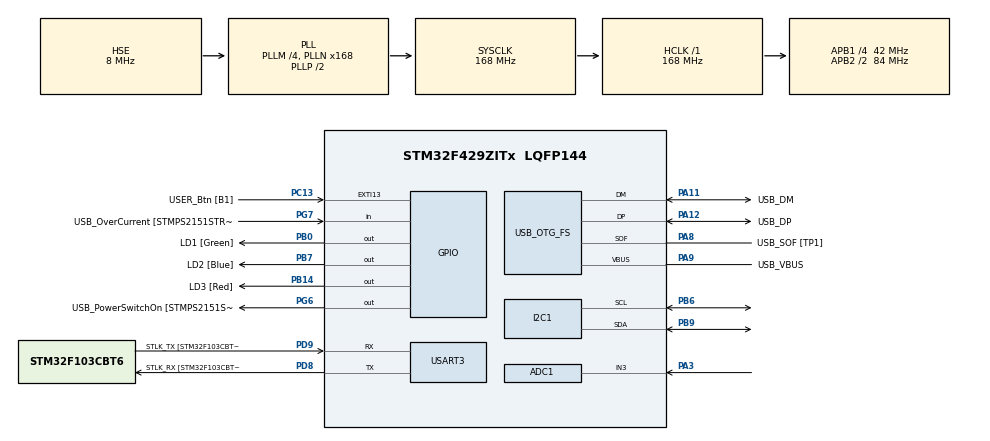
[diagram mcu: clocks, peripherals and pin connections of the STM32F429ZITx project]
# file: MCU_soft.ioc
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ADC1.Channel-0\#ChannelRegularConversion=ADC_CHANNEL_3
ADC1.ExternalTrigConv=ADC_EXTERNALTRIGCONV_T3_TRGO
ADC1.InjNumberOfConversion=0
ADC1.NbrOfConversionFlag=1
ADC1.Rank-0\#ChannelRegularConversion=1
ADC1.Resolution=ADC_RESOLUTION_12B
ADC1.SamplingTime-0\#ChannelRegularConversion=ADC_SAMPLETIME_3CYCLES
ADC1.master=1
Mcu.Family=STM32F4
Mcu.Name=STM32F429ZITx
Mcu.Package=LQFP144
NVIC.ADC_IRQn=true\:0\:0\:false\:false\:true\:true\:true\:true
NVIC.EXTI15_10_IRQn=true\:0\:0\:false\:false\:true\:true\:true\:true
NVIC.PriorityGroup=NVIC_PRIORITYGROUP_2
NVIC.TIM3_IRQn=true\:0\:0\:false\:false\:true\:true\:true\:true
NVIC.USART3_IRQn=true\:0\:0\:false\:false\:true\:true\:true\:true
PA1.GPIO_Label=RMII_REF_CLK [LAN8742A-CZ-TR_REFCLK0]
PA1.Signal=ETH_REF_CLK
PA10.GPIO_Label=USB_ID
PA10.Signal=USB_OTG_FS_ID
PA11.GPIO_Label=USB_DM
PA11.Mode=Device_Only
PA11.Signal=USB_OTG_FS_DM
PA12.GPIO_Label=USB_DP
PA12.Mode=Device_Only
PA12.Signal=USB_OTG_FS_DP
PA13.GPIO_Label=TMS
PA13.Mode=Serial_Wire
PA13.Signal=SYS_JTMS-SWDIO
PA14.GPIO_Label=TCK
PA14.Mode=Serial_Wire
PA14.Signal=SYS_JTCK-SWCLK
PA2.GPIO_Label=RMII_MDIO [LAN8742A-CZ-TR_MDIO]
PA2.Signal=ETH_MDIO
PA3.Signal=ADCx_IN3
PA7.GPIO_Label=RMII_CRS_DV [LAN8742A-CZ-TR_CRS_DV]
PA7.Signal=ETH_CRS_DV
PA8.GPIO_Label=USB_SOF [TP1]
PA8.Mode=Activate_SOF_FS
PA8.Signal=USB_OTG_FS_SOF
PA9.GPIO_Label=USB_VBUS
PA9.Mode=Activate_VBUS
PA9.Signal=USB_OTG_FS_VBUS
PB0.GPIO_Label=LD1 [Green]
PB0.Signal=GPIO_Output
PB13.GPIO_Label=RMII_TXD1 [LAN8742A-CZ-TR_TXD1]
PB13.Signal=ETH_TXD1
PB14.GPIO_Label=LD3 [Red]
PB14.Signal=GPIO_Output
PB6.Mode=I2C
PB6.Signal=I2C1_SCL
PB7.GPIO_Label=LD2 [Blue]
PB7.Signal=GPIO_Output
PB9.Mode=I2C
PB9.Signal=I2C1_SDA
PC1.GPIO_Label=RMII_MDC [LAN8742A-CZ-TR_MDC]
PC1.Signal=ETH_MDC
PC13.GPIO_Label=USER_Btn [B1]
PC13.Signal=GPXTI13
PC14/OSC32_IN.Mode=LSE-External-Oscillator
PC14/OSC32_IN.Signal=RCC_OSC32_IN
PC15/OSC32_OUT.Mode=LSE-External-Oscillator
PC15/OSC32_OUT.Signal=RCC_OSC32_OUT
PC4.GPIO_Label=RMII_RXD0 [LAN8742A-CZ-TR_RXD0]
PC4.Signal=ETH_RXD0
PC5.GPIO_Label=RMII_RXD1 [LAN8742A-CZ-TR_RXD1]
PC5.Signal=ETH_RXD1
PD8.GPIO_Label=STLK_RX [STM32F103CBT6_PA3]
PD8.Mode=Asynchronous
PD8.Signal=USART3_TX
PD9.GPIO_Label=STLK_TX [STM32F103CBT6_PA2]
PD9.Mode=Asynchronous
PD9.Signal=USART3_RX
PG13.GPIO_Label=RMII_TXD0 [LAN8742A-CZ-TR_TXD0]
PG13.Signal=ETH_TXD0
PG6.GPIO_Label=USB_PowerSwitchOn [STMPS2151STR_EN]
PG6.Signal=GPIO_Output
PG7.GPIO_Label=USB_OverCurrent [STMPS2151STR_FAULT]
PG7.Signal=GPIO_Input
PH0/OSC_IN.GPIO_Label=MCO [STM32F103CBT6_PA8]
PH0/OSC_IN.Mode=HSE-External-Clock-Source
PH0/OSC_IN.Signal=RCC_OSC_IN
PH1/OSC_OUT.Mode=HSE-External-Clock-Source
PH1/OSC_OUT.Signal=RCC_OSC_OUT
ProjectManager.HeapSize=0x800
ProjectManager.StackSize=0x1200
ProjectManager.TargetToolchain=STM32CubeIDE
RCC.48MHZClocksFreq_Value=48000000
RCC.AHBFreq_Value=168000000
RCC.APB1CLKDivider=RCC_HCLK_DIV4
RCC.APB1Freq_Value=42000000
RCC.APB1TimFreq_Value=84000000
RCC.APB2CLKDivider=RCC_HCLK_DIV2
RCC.APB2Freq_Value=84000000
RCC.APB2TimFreq_Value=168000000
RCC.CortexFreq_Value=168000000
RCC.HCLKFreq_Value=168000000
RCC.HSE_VALUE=8000000
RCC.HSI_VALUE=16000000
RCC.PLLM=4
RCC.PLLMUL=RCC_PLL_MUL9
RCC.PLLN=168
RCC.PLLQ=7
RCC.PRESCALERUSB=RCC_USBCLKSOURCE_PLL_DIV1_5
RCC.SYSCLKFreq_VALUE=168000000
RCC.SYSCLKSource=RCC_SYSCLKSOURCE_PLLCLK
RCC.SYSCLKSourceVirtual=RCC_SYSCLKSOURCE_PLLCLK
RCC.USBFreq_Value=48000000
RCC.VCOOutputFreq_Value=336000000
SH.ADCx_IN3.0=ADC1_IN3,IN3
STMicroelectronics.X-CUBE-AI.9.1.0.ActivationBufferSizeList=27098
STMicroelectronics.X-CUBE-AI.9.1.0.ActivationBuffers=pool0
STMicroelectronics.X-CUBE-AI.9.1.0.ActivationNames=pool0
STMicroelectronics.X-CUBE-AI.9.1.0.ActivationSizes=AI_WORD_CLASSIFIER_DATA_ACTIVATION_1_SIZE
STMicroelectronics.X-CUBE-AI.9.1.0.ApplicationCcDeviceJjApplication=ApplicationTemplate
STMicroelectronics.X-CUBE-AI.9.1.0.HeapSize=0x800
STMicroelectronics.X-CUBE-AI.9.1.0.InternalRamActivationBufferMaxSize=AI_WORD_CLASSIFIER_DATA_ACTIVATIONS_SIZE
STMicroelectronics.X-CUBE-AI.9.1.0.LatestDirectoryUsed-c3c3cf3277ce77a704e0bb6de951442ba1f68e452474bf810ef25af8ff0e28c2=/home/vistek528/TRA_PROJ/NET_prototype/to_be_deployed
STMicroelectronics.X-CUBE-AI.9.1.0.MaximumNumberOfInputLayer=1
STMicroelectronics.X-CUBE-AI.9.1.0.MaximumNumberOfOutputLayer=1
STMicroelectronics.X-CUBE-AI.9.1.0.MaximumSizeOfInputLayer=1
STMicroelectronics.X-CUBE-AI.9.1.0.MaximumSizeOfOutputLayer=1
STMicroelectronics.X-CUBE-AI.9.1.0.ModelActualCompression-c3c3cf3277ce77a704e0bb6de951442ba1f68e452474bf810ef25af8ff0e28c2=0.0
STMicroelectronics.X-CUBE-AI.9.1.0.ModelCompression-c3c3cf3277ce77a704e0bb6de951442ba1f68e452474bf810ef25af8ff0e28c2=None
STMicroelectronics.X-CUBE-AI.9.1.0.ModelFlashOccupation-c3c3cf3277ce77a704e0bb6de951442ba1f68e452474bf810ef25af8ff0e28c2=177744
STMicroelectronics.X-CUBE-AI.9.1.0.ModelHashList=c3c3cf3277ce77a704e0bb6de951442ba1f68e452474bf810ef25af8ff0e28c2
STMicroelectronics.X-CUBE-AI.9.1.0.ModelKind-c3c3cf3277ce77a704e0bb6de951442ba1f68e452474bf810ef25af8ff0e28c2=TFLITE
STMicroelectronics.X-CUBE-AI.9.1.0.ModelMacc-c3c3cf3277ce77a704e0bb6de951442ba1f68e452474bf810ef25af8ff0e28c2=7045032
STMicroelectronics.X-CUBE-AI.9.1.0.ModelName-c3c3cf3277ce77a704e0bb6de951442ba1f68e452474bf810ef25af8ff0e28c2=word_classifier
STMicroelectronics.X-CUBE-AI.9.1.0.ModelNameList=word_classifier
STMicroelectronics.X-CUBE-AI.9.1.0.ModelRamOccupation-c3c3cf3277ce77a704e0bb6de951442ba1f68e452474bf810ef25af8ff0e28c2=27098
STMicroelectronics.X-CUBE-AI.9.1.0.ModelStructureFile-c3c3cf3277ce77a704e0bb6de951442ba1f68e452474bf810ef25af8ff0e28c2=/home/vistek528/TRA_PROJ/NET_prototype/to_be_deployed/tra_61percent_deployed.tflite
STMicroelectronics.X-CUBE-AI.9.1.0.ModelType-c3c3cf3277ce77a704e0bb6de951442ba1f68e452474bf810ef25af8ff0e28c2=STM32Cube.AI MCU runtime
STMicroelectronics.X-CUBE-AI.9.1.0.ReadyForCodeGeneration=true
STMicroelectronics.X-CUBE-AI.9.1.0.StackSize=0x1200
STMicroelectronics.X-CUBE-AI.9.1.0.WorkingBufferStartAddrList=0xFFFFFFFF
STMicroelectronics.X-CUBE-AI.9.1.0.XAaCUBEAaAICcArtificialOoIntelligenceJjCore=true
STMicroelectronics.X-CUBE-AI.9.1.0.copyWeightToRam=false
STMicroelectronics.X-CUBE-AI.9.1.0.copyWeightToRam-c3c3cf3277ce77a704e0bb6de951442ba1f68e452474bf810ef25af8ff0e28c2=false
STMicroelectronics.X-CUBE-AI.9.1.0.customLayerConfigEnabled=false
STMicroelectronics.X-CUBE-AI.9.1.0.customLayerConfigEnabled-c3c3cf3277ce77a704e0bb6de951442ba1f68e452474bf810ef25af8ff0e28c2=false
STMicroelectronics.X-CUBE-AI.9.1.0.noOnnxIoTranspose=false
STMicroelectronics.X-CUBE-AI.9.1.0.noOnnxIoTranspose-c3c3cf3277ce77a704e0bb6de951442ba1f68e452474bf810ef25af8ff0e28c2=false
STMicroelectronics.X-CUBE-AI.9.1.0.optimization=time
STMicroelectronics.X-CUBE-AI.9.1.0.outputDirectory=/home/vistek528/.stm32cubemx/word_classifier_output
STMicroelectronics.X-CUBE-AI.9.1.0.useInputAllocation=true
STMicroelectronics.X-CUBE-AI.9.1.0.useInputAllocation-c3c3cf3277ce77a704e0bb6de951442ba1f68e452474bf810ef25af8ff0e28c2=true
STMicroelectronics.X-CUBE-AI.9.1.0.useOutputAllocation=true
STMicroelectronics.X-CUBE-AI.9.1.0.useOutputAllocation-c3c3cf3277ce77a704e0bb6de951442ba1f68e452474bf810ef25af8ff0e28c2=true
STMicroelectronics.X-CUBE-ALGOBUILD.1.4.0.LibraryCcDSPOoLibraryJjDSPOoLibrary=true
TIM3.Channel-PWM\ Generation1\ No\ Output=TIM_CHANNEL_1
TIM3.Period=250-1
TIM3.Prescaler=7-1
TIM3.TIM_MasterOutputTrigger=TIM_TRGO_UPDATE
USART3.VirtualMode=VM_ASYNC
USB_OTG_FS.VirtualMode=Device_Only
VP_STMicroelectronics.X-CUBE-AI_VS_ArtificialOoIntelligenceJjXAaCUBEAaAI_9.1.0.Mode=ArtificialOoIntelligenceJjXAaCUBEAaAI
VP_STMicroelectronics.X-CUBE-AI_VS_DeviceJjApplication_9.1.0.Mode=DeviceJjApplication
VP_STMicroelectronics.X-CUBE-ALGOBUILD_VS_DSPOoLibraryJjLibrary_1.4.0_1.4.0.Mode=DSPOoLibraryJjLibrary
VP_TIM3_VS_ClockSourceINT.Mode=Internal
VP_TIM3_VS_no_output1.Mode=PWM Generation1 No Output
board=NUCLEO-F429ZI

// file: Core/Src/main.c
/* USER CODE BEGIN Header */
/**
  ******************************************************************************
  * @file           : main.c
  * @brief          : Main program body
  ******************************************************************************
  * @attention
  *
  * Copyright (c) 2024 STMicroelectronics.
  * All rights reserved.
  *
  * This software is licensed under terms that can be found in the LICENSE file
  * in the root directory of this software component.
  * If no LICENSE file comes with this software, it is provided AS-IS.
  *
  ******************************************************************************
  */
/* USER CODE END Header */
#include "main.h"
#include "adc.h"
#include "i2c.h"
#include "tim.h"
#include "usart.h"
#include "usb_otg.h"
#include "gpio.h"
#include "app_x-cube-ai.h"

/* USER CODE BEGIN Includes */

#include <stdio.h>
#include <stdbool.h>

#include "fir_filter.h"
#include "decimation_filter.h"
#include "liquid_crystal_i2c.h"
#include "stft_solver.h"
#include "net_utils.h"

#include "word_classifier.h"
#include "word_classifier_data.h"

/* USER CODE END Includes */

/* USER CODE BEGIN PTD */

typedef enum {
  WAITING,
  STARTED_RECORDING,
  STARTED_STFT,
  STARTED_TRANSMITTING_RESIZED,
  STARTED_TRANSMITTING_DATA,
  STARTED_TRANSMITTING_STFT,
  STARTED_NEURAL_NETWORK_PREDICTION,
  COMPLETED
} MIKE_Status;

/* USER CODE END PTD */

/* USER CODE BEGIN PV */

#define CCMRAM_SECTION __attribute__((section(".ccmram")))

#define SAMPLE_RATE 48000

#define OUTPUT_SAMPLE_RATE_8kHz
//#define OUTPUT_SAMPLE_RATE_16kHz

#if defined(OUTPUT_SAMPLE_RATE_8kHz) && !defined(OUTPUT_SAMPLE_RATE_16kHz)
  #define AUDIO_LENGTH 8000
 float audio[AUDIO_LENGTH];

  #define INPUT_FIR_BUFFER_LENGTH 61
  float lp_input_buffer[INPUT_FIR_BUFFER_LENGTH];

  /* FIR Filter (low-pass antialiasing)
  * fs=48kHz
  * f_cutoff=4kHz
  * Suppresion in stopband ~ -40/-60dB
  * Design method: Window-Sinc (Kaiser window) (beta=3)
  * Order: 60
  */
  float lp_input_impulse_response[] = {1.32113e-18, 0.00128676, 0.00262602, 0.00353702, 0.00354325, 0.00234971, -2.62847e-18, -0.00304789, -0.00597185, -0.00777285, -0.00756562, -0.00489789, 4.02847e-18, 0.0061298, 0.0118641, 0.01531, 0.0148296, 0.00959165, -5.27723e-18, -0.0121449, -0.0238367, -0.0314082, -0.0313327, -0.0211072, 6.14009e-18, 0.0305383, 0.0669324, 0.104033, 0.13606, 0.157747, 0.165415, 0.157747, 0.13606, 0.104033, 0.0669324, 0.0305383, 6.14009e-18, -0.0211072, -0.0313327, -0.0314082, -0.0238367, -0.0121449, -5.27723e-18, 0.00959165, 0.0148296, 0.01531, 0.0118641, 0.0061298, 4.02847e-18, -0.00489789, -0.00756562, -0.00777285, -0.00597185, -0.00304789, -2.62847e-18, 0.00234971, 0.00354325, 0.00353702, 0.00262602, 0.00128676, 1.32113e-18};
  const int decimation_factor = 6;

#endif

#if defined(OUTPUT_SAMPLE_RATE_16kHz) && !defined(OUTPUT_SAMPLE_RATE_8kHz)
  #define AUDIO_LENGTH 16000
  float audio[AUDIO_LENGTH];

  #define INPUT_FIR_BUFFER_LENGTH 31
  float lp_input_buffer[INPUT_FIR_BUFFER_LENGTH];

  /* FIR Filter (low-pass antialiasing)
  * fs=48kHz
  * f_cutoff=8kHz
  * Suppresion in stopband ~ -40/-50dB
  * Design method: Window-Sinc (Kaiser window) (beta=3)
  * Order: 30
  */
  float lp_input_impulse_response[] = {2.64379e-18, 0.00525507, 0.00709057, -5.25997e-18, -0.0119506, -0.0151399, 8.06158e-18, 0.0237419, 0.0296762, -1.05605e-17, -0.0477009, -0.0627015, 1.22872e-17, 0.133942, 0.272277, 0.331021, 0.272277, 0.133942, 1.22872e-17, -0.0627015, -0.0477009, -1.05605e-17, 0.0296762, 0.0237419, 8.06158e-18, -0.0151399, -0.0119506, -5.25997e-18, 0.00709057, 0.00525507, 2.64379e-18};
  const int decimation_factor = 3;

#endif

uint32_t counter = 0;

uint32_t adc_val = 0;
char message[32];
MIKE_Status status = WAITING;

FIR_filter lp_input;
DecimationFilter decimation_filter;

#define FFT_SIZE 256
#define HOP_SIZE 128
#define STFT_ARRAY_LENGTH 7869
#define STFT_FILTER_MASK_SIZE 4

const float hann_window[FFT_SIZE] = {
    0.0000000, 0.0001518, 0.0006070, 0.0013654, 0.0024265, 0.0037897, 0.0054542, 0.0074189, 0.0096826, 0.0122440,
    0.0151015, 0.0182534, 0.0216978, 0.0254325, 0.0294554, 0.0337639, 0.0383554, 0.0432273, 0.0483764, 0.0537997,
    0.0594939, 0.0654555, 0.0716810, 0.0781664, 0.0849080, 0.0919015, 0.0991429, 0.1066275, 0.1143510, 0.1223086,
    0.1304955, 0.1389068, 0.1475372, 0.1563817, 0.1654347, 0.1746908, 0.1841445, 0.1937899, 0.2036212, 0.2136324,
    0.2238175, 0.2341703, 0.2446844, 0.2553535, 0.2661712, 0.2771308, 0.2882257, 0.2994492, 0.3107945, 0.3222546,
    0.3338226, 0.3454915, 0.3572542, 0.3691036, 0.3810324, 0.3930335, 0.4050995, 0.4172231, 0.4293969, 0.4416136,
    0.4538658, 0.4661460, 0.4784467, 0.4907605, 0.5030800, 0.5153975, 0.5277057, 0.5399971, 0.5522642, 0.5644996,
    0.5766958, 0.5888455, 0.6009412, 0.6129756, 0.6249415, 0.6368315, 0.6486384, 0.6603551, 0.6719745, 0.6834894,
    0.6948929, 0.7061782, 0.7173382, 0.7283663, 0.7392558, 0.7500000, 0.7605924, 0.7710267, 0.7812964, 0.7913953,
    0.8013173, 0.8110564, 0.8206067, 0.8299623, 0.8391176, 0.8480670, 0.8568051, 0.8653266, 0.8736263, 0.8816991,
    0.8895403, 0.8971449, 0.9045085, 0.9116265, 0.9184946, 0.9251086, 0.9314645, 0.9375585, 0.9433868, 0.9489460,
    0.9542326, 0.9592435, 0.9639755, 0.9684259, 0.9725919, 0.9764710, 0.9800608, 0.9833592, 0.9863641, 0.9890738,
    0.9914865, 0.9936009, 0.9954156, 0.9969296, 0.9981418, 0.9990517, 0.9996585, 0.9999621, 0.9999621, 0.9996585,
    0.9990517, 0.9981418, 0.9969296, 0.9954156, 0.9936009, 0.9914865, 0.9890738, 0.9863641, 0.9833592, 0.9800608,
    0.9764710, 0.9725919, 0.9684259, 0.9639755, 0.9592435, 0.9542326, 0.9489460, 0.9433868, 0.9375585, 0.9314645,
    0.9251086, 0.9184946, 0.9116265, 0.9045085, 0.8971449, 0.8895403, 0.8816991, 0.8736263, 0.8653266, 0.8568051,
    0.8480670, 0.8391176, 0.8299623, 0.8206067, 0.8110564, 0.8013173, 0.7913953, 0.7812964, 0.7710267, 0.7605924,
    0.7500000, 0.7392558, 0.7283663, 0.7173382, 0.7061782, 0.6948929, 0.6834894, 0.6719745, 0.6603551, 0.6486384,
    0.6368315, 0.6249415, 0.6129756, 0.6009412, 0.5888455, 0.5766958, 0.5644996, 0.5522642, 0.5399971, 0.5277057,
    0.5153975, 0.5030800, 0.4907605, 0.4784467, 0.4661460, 0.4538658, 0.4416136, 0.4293969, 0.4172231, 0.4050995,
    0.3930335, 0.3810324, 0.3691036, 0.3572542, 0.3454915, 0.3338226, 0.3222546, 0.3107945, 0.2994492, 0.2882257,
    0.2771308, 0.2661712, 0.2553535, 0.2446844, 0.2341703, 0.2238175, 0.2136324, 0.2036212, 0.1937899, 0.1841445,
    0.1746908, 0.1654347, 0.1563817, 0.1475372, 0.1389068, 0.1304955, 0.1223086, 0.1143510, 0.1066275, 0.0991429,
    0.0919015, 0.0849080, 0.0781664, 0.0716810, 0.0654555, 0.0594939, 0.0537997, 0.0483764, 0.0432273, 0.0383554,
    0.0337639, 0.0294554, 0.0254325, 0.0216978, 0.0182534, 0.0151015, 0.0122440, 0.0096826, 0.0074189, 0.0054542,
    0.0037897, 0.0024265, 0.0013654, 0.0006070, 0.0001518, 0.0000000
};

const float stft_filter_mask[] = {0.0010000, 0.1882551, 0.6112605, 0.9504844};
STFT_with_filter_solver stft_solver;
ISTFT_with_filter_solver istft_solver;

// Network setup

const char available_words[4][7] = {
        "Go",
        "Left",
        "Right",
        "Stop",
};

static ai_handle network = AI_HANDLE_NULL;
ai_u8 activations[AI_WORD_CLASSIFIER_DATA_ACTIVATIONS_SIZE];  // Memory for activations
ai_float input_data[AI_WORD_CLASSIFIER_IN_1_SIZE];         // Input buffer
ai_float output_data[AI_WORD_CLASSIFIER_OUT_1_SIZE];

float stft_complex_buffer[STFT_ARRAY_LENGTH*2];
float stft_buffer[STFT_ARRAY_LENGTH];

ai_buffer* ai_input;
ai_buffer* ai_output;

/* USER CODE END PV */

void SystemClock_Config(void);

/* USER CODE BEGIN 0 */

void HAL_TIM_PeriodElapsedCallback(TIM_HandleTypeDef *htim)
{
  if (htim == &htim3)
  {

  }
}

void HAL_ADC_ConvCpltCallback(ADC_HandleTypeDef *hadc)
{
  if(hadc == &hadc1) {
    adc_val = HAL_ADC_GetValue(&hadc1);
    const uint8_t decimation_status = DecimationFilterUpdate(&decimation_filter, (float)adc_val);
    if(status == STARTED_RECORDING && counter < AUDIO_LENGTH) {

      if(decimation_status == 1) {
        // Toggle the Green LED
        HAL_GPIO_TogglePin(LD2_GPIO_Port, LD2_Pin);

        audio[counter] = decimation_filter.out;
        ++counter;
      }
    }
    else if(status == STARTED_RECORDING && counter >= AUDIO_LENGTH) {
      status = STARTED_STFT;
      counter = 0;

      if(HAL_TIM_PWM_Stop(&htim3, TIM_CHANNEL_1) != HAL_OK) {
        Error_Handler();
      }

    }
  }
}

void HAL_GPIO_EXTI_Callback(uint16_t pin) {
  if(status == WAITING) {
    HAL_GPIO_WritePin(LD3_GPIO_Port, LD3_Pin, GPIO_PIN_RESET);
    counter = 0;
    status = STARTED_RECORDING;

    HD44780_Clear();
    HD44780_Home();
    HD44780_PrintStr("Recording...");

  }
}

/* USER CODE END 0 */

int main(void)
{

  /* USER CODE BEGIN 1 */

    SystemInit();

  /* USER CODE END 1 */

  /* MCU Configuration--------------------------------------------------------*/

  /* Reset of all peripherals, Initializes the Flash interface and the Systick. */
  HAL_Init();

  /* Configure the system clock */
  SystemClock_Config();

  /* Initialize all configured peripherals */
  MX_GPIO_Init();
  MX_ADC1_Init();
  MX_TIM3_Init();
  MX_USB_OTG_FS_PCD_Init();
  MX_USART3_UART_Init();
  MX_I2C1_Init();
  MX_X_CUBE_AI_Init();
  /* USER CODE BEGIN 2 */

    FIRFilterInit(&lp_input, lp_input_buffer, INPUT_FIR_BUFFER_LENGTH, lp_input_impulse_response,
                  INPUT_FIR_BUFFER_LENGTH);
    DecimationFilterInit(&decimation_filter, &lp_input, decimation_factor);
    STFT_Init(&stft_solver, FFT_SIZE, HOP_SIZE, AUDIO_LENGTH, hann_window, STFT_FILTER_MASK_SIZE, stft_filter_mask,
              stft_complex_buffer);

    ISTFT_Init(&istft_solver, FFT_SIZE, HOP_SIZE, AUDIO_LENGTH, hann_window, audio);

    if (HAL_ADC_Start_IT(&hadc1) != HAL_OK) {
        Error_Handler();
    }

    // Start TIMER3
    if (HAL_TIM_Base_Start_IT(&htim3) != HAL_OK) {
        Error_Handler();
    }

    // start pwm generation
    if (HAL_TIM_PWM_Start(&htim3, TIM_CHANNEL_1) != HAL_OK) {
        Error_Handler();
    }

    const ai_handle acts[] = { activations };
    ai_word_classifier_create_and_init(&network, acts, NULL);

    ai_input = ai_word_classifier_inputs_get(network, NULL);
    ai_input[0].data = AI_HANDLE_PTR(input_data);

    ai_output = ai_word_classifier_outputs_get(network, NULL);
    ai_output[0].data = AI_HANDLE_PTR(output_data);

    /* Initialize */
    HD44780_Init(2);

    HD44780_Clear();
    HD44780_Home();
    HD44780_PrintStr("Waiting...");

  /* USER CODE END 2 */

  /* Infinite loop */
  /* USER CODE BEGIN WHILE */
    while (1) {
        HAL_Delay(100);
        HAL_GPIO_TogglePin(LD1_GPIO_Port, LD1_Pin);
        uint8_t length;

        if (status == STARTED_STFT) {
            HAL_GPIO_WritePin(LD3_GPIO_Port, LD3_Pin, GPIO_PIN_SET);
            HD44780_Clear();
            HD44780_Home();
            HD44780_PrintStr("Started STFT...");

            //STFT_ProcessComplex(&stft_solver, audio);
            //noise_reduction_stft(stft_complex_buffer, FFT_SIZE, 61, true);
            //ISTFT_Process(&istft_solver, stft_complex_buffer);

            STFT_Process(&stft_solver, audio);
            resize_image(stft_complex_buffer, 129, 61, input_data, 32, 32);

            status = STARTED_NEURAL_NETWORK_PREDICTION;
            HAL_GPIO_WritePin(LD3_GPIO_Port, LD3_Pin, GPIO_PIN_RESET);
        }

        if (status == STARTED_TRANSMITTING_DATA) {
            HAL_GPIO_WritePin(LD1_GPIO_Port, LD1_Pin, GPIO_PIN_SET);

            HD44780_Clear();
            HD44780_Home();
            HD44780_PrintStr("Transmitting");
            HD44780_SetCursor(0, 1);
            HD44780_PrintStr("data...");

            length = snprintf(message, sizeof(message), "AUDIO_START\r\n");
            HAL_UART_Transmit_IT(&huart3, (uint8_t *) message, length);
            HAL_Delay(1);

            for (uint32_t i = 0; i < AUDIO_LENGTH; ++i) {
                length = snprintf(message, sizeof(message), "%05lu,%05.5f\r\n", i, audio[i]);
                if (length > 0 && length < sizeof(message)) {
                    HAL_GPIO_TogglePin(LD2_GPIO_Port, LD2_Pin);
                    HAL_UART_Transmit_IT(&huart3, (uint8_t *) message, length);
                    HAL_Delay(1);
                }
            }
            length = snprintf(message, sizeof(message), "AUDIO_STOP\r\n");
            HAL_UART_Transmit_IT(&huart3, (uint8_t *) message, length);
            HAL_Delay(1);

            status = STARTED_TRANSMITTING_STFT;

        }

        if (status == STARTED_TRANSMITTING_STFT) {
            HAL_GPIO_WritePin(LD1_GPIO_Port, LD1_Pin, GPIO_PIN_RESET);
            HAL_GPIO_WritePin(LD3_GPIO_Port, LD3_Pin, GPIO_PIN_SET);

            HD44780_Clear();
            HD44780_Home();
            HD44780_PrintStr("Transmitting");
            HD44780_SetCursor(0, 1);
            HD44780_PrintStr("STFT...");

            length = snprintf(message, sizeof(message), "STFT_START\r\n");
            HAL_UART_Transmit_IT(&huart3, (uint8_t *) message, length);
            HAL_Delay(1);

            for (uint32_t i = 0; i < STFT_ARRAY_LENGTH; ++i) {
                length = snprintf(message, sizeof(message), "%05lu,%05.5f\r\n", i, stft_complex_buffer[i]);
                if (length > 0 && length < sizeof(message)) {
                    HAL_GPIO_TogglePin(LD2_GPIO_Port, LD2_Pin);
                    HAL_UART_Transmit_IT(&huart3, (uint8_t *) message, length);
                    HAL_Delay(1);
                }
            }

            length = snprintf(message, sizeof(message), "STFT_STOP\r\n");
            HAL_UART_Transmit_IT(&huart3, (uint8_t *) message, length);
            HAL_Delay(1);

            HD44780_Clear();
            HD44780_Home();
            HD44780_PrintStr("Waiting...");
            HAL_GPIO_WritePin(LD3_GPIO_Port, LD3_Pin, GPIO_PIN_RESET);

            status = STARTED_NEURAL_NETWORK_PREDICTION;

        }

        if (status == STARTED_NEURAL_NETWORK_PREDICTION) {
            HD44780_Clear();
            HD44780_Home();
            HD44780_PrintStr("Prediction: ");

            ai_word_classifier_run(network, &ai_input[0], &ai_output[0]);

            int predicted_class = argmax(output_data, AI_WORD_CLASSIFIER_OUT_1_SIZE);
            DisplayPredictedClass(predicted_class, AI_WORD_CLASSIFIER_OUT_1_SIZE, available_words);

            status = WAITING;
            if (HAL_TIM_PWM_Start(&htim3, TIM_CHANNEL_1) != HAL_OK) {
                Error_Handler();
            }
        }

    /* USER CODE END WHILE */

  MX_X_CUBE_AI_Process();
    }
}

void SystemClock_Config(void)
{
  RCC_OscInitTypeDef RCC_OscInitStruct = {0};
  RCC_ClkInitTypeDef RCC_ClkInitStruct = {0};

  /** Configure the main internal regulator output voltage
  */
  __HAL_RCC_PWR_CLK_ENABLE();
  __HAL_PWR_VOLTAGESCALING_CONFIG(PWR_REGULATOR_VOLTAGE_SCALE1);

  /** Initializes the RCC Oscillators according to the specified parameters
  * in the RCC_OscInitTypeDef structure.
  */
  RCC_OscInitStruct.OscillatorType = RCC_OSCILLATORTYPE_HSE;
  RCC_OscInitStruct.HSEState = RCC_HSE_BYPASS;
  RCC_OscInitStruct.PLL.PLLState = RCC_PLL_ON;
  RCC_OscInitStruct.PLL.PLLSource = RCC_PLLSOURCE_HSE;
  RCC_OscInitStruct.PLL.PLLM = 4;
  RCC_OscInitStruct.PLL.PLLN = 168;
  RCC_OscInitStruct.PLL.PLLP = RCC_PLLP_DIV2;
  RCC_OscInitStruct.PLL.PLLQ = 7;
  if (HAL_RCC_OscConfig(&RCC_OscInitStruct) != HAL_OK)
  {
    Error_Handler();
  }

  /** Initializes the CPU, AHB and APB buses clocks
  */
  RCC_ClkInitStruct.ClockType = RCC_CLOCKTYPE_HCLK|RCC_CLOCKTYPE_SYSCLK
                              |RCC_CLOCKTYPE_PCLK1|RCC_CLOCKTYPE_PCLK2;
  RCC_ClkInitStruct.SYSCLKSource = RCC_SYSCLKSOURCE_PLLCLK;
  RCC_ClkInitStruct.AHBCLKDivider = RCC_SYSCLK_DIV1;
  RCC_ClkInitStruct.APB1CLKDivider = RCC_HCLK_DIV4;
  RCC_ClkInitStruct.APB2CLKDivider = RCC_HCLK_DIV2;

  if (HAL_RCC_ClockConfig(&RCC_ClkInitStruct, FLASH_LATENCY_5) != HAL_OK)
  {
    Error_Handler();
  }
}

void Error_Handler(void)
{
  __disable_irq();
  while (1)
  {
  }
}
